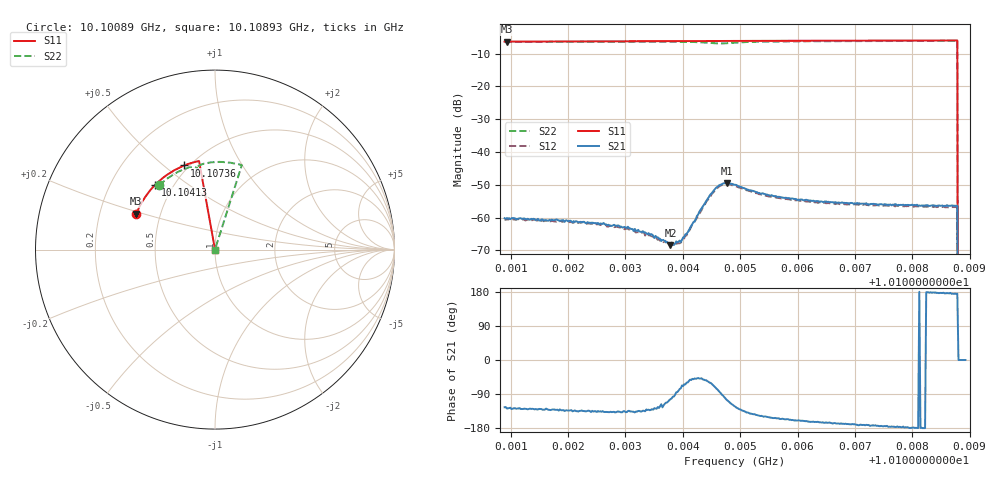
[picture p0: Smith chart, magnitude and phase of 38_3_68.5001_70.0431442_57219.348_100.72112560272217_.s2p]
#  HZ  S  RI  R  50.00
! Rohde & Schwarz Vector Network Analyzer
! Rohde-Schwarz,ZNB20-2Port,1311601062101988,3.16
! Created: UTC 3/20/2024, 5:05:22 PM
! freq[Hz]  re:S11  im:S11  re:S21  im:S21  re:S12  im:S12  re:S22  im:S22
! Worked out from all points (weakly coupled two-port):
!   401 points, 10.10089 GHz to 10.10893 GHz, reference 50 ohm
!   highest |S21| = -49.52 dB at 10.10477 GHz (marker M1); lowest = -68.4 dB at 10.10378 GHz (marker M2)
!   lowest |S11| = -6.4 dB at 10.10093 GHz (marker M3), VSWR 2.86, Z = 18.2 + j9.46 ohm
!   |S11| at or under -10 dB: 10.10879 GHz to end of sweep
!   |S22| runs from - to -6.1 dB; largest |S21 - S12| = 0.00034
!   S11 on the Smith chart (normalised r, x): 10.10089 GHz: 0.36, +0.19; 10.10413 GHz: 0.40, +0.38; 10.10736 GHz: 0.47, +0.59; 10.10893 GHz: 1.00, +0.00
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1.0100893e10  -0.4391 0.1973  -0.000555 -0.000804  -0.00049 -0.000799  -0.3112 0.3574
1.0100933e10  -0.4382 0.1993  -0.000602 -0.000773  -0.000501 -0.000804  -0.3092 0.3592
1.0102238e10  -0.4033 0.2707  -0.000581 -0.000616  -0.000548 -0.000656  -0.2426 0.4116
1.0103022e10  -0.3768 0.3103  -0.000513 -0.000471  -0.000466 -0.000491  -0.1976 0.4372
1.0103283e10  -0.3672 0.3229  -0.000432 -0.000422  -0.000365 -0.00046  -0.1815 0.4445
1.0103584e10  -0.3554 0.3368  -0.000284 -0.000384  -0.000228 -0.000405  -0.1619 0.4521
1.0103785e10  -0.3474 0.3459  -8.71e-05 -0.00037  -7.2e-05 -0.000359  -0.1481 0.4564
1.0103905e10  -0.3425 0.3513  3.89e-05 -0.000419  0.000105 -0.000388  -0.1394 0.4584
1.0103966e10  -0.3398 0.354  0.000113 -0.000409  0.000156 -0.000385  -0.1349 0.4592
1.0104126e10  -0.333 0.361  0.000428 -0.000547  0.000429 -0.000509  -0.1222 0.4604
1.0104387e10  -0.3218 0.3721  0.000995 -0.00133  0.00107 -0.00118  -0.1009 0.4551
1.0104528e10  -0.3154 0.3778  0.000991 -0.0023  0.00116 -0.00209  -0.0946 0.4466
1.0104648e10  -0.31 0.3826  0.000253 -0.00314  0.000486 -0.00298  -0.0975 0.4405
1.0104769e10  -0.3046 0.3874  -0.00092 -0.00321  -0.000577 -0.00319  -0.1028 0.4436
1.0104909e10  -0.2982 0.3928  -0.00171 -0.00266  -0.00142 -0.00267  -0.1022 0.454
1.0105492e10  -0.2703 0.4144  -0.00192 -0.00106  -0.00175 -0.00115  -0.0647 0.4779
1.0106255e10  -0.2313 0.4395  -0.00171 -0.000513  -0.00158 -0.00065  -0.0128 0.4872
1.010736e10  -0.1713 0.4687  -0.00159 -0.000213  -0.0015 -0.000342  0.0593 0.487
1.0107601e10  -0.1576 0.4738  -0.00156 -0.000117  -0.00148 -0.000287  0.0747 0.4855
1.0108746e10  -0.0912 0.4931  -0.00151 0.000128  -0.00145 -3.42e-05  0.1468 0.4713
1.0108846e10  0 0  0 0  0 0  0 0
1.0108926e10  0 0  0 0  0 0  0 0
